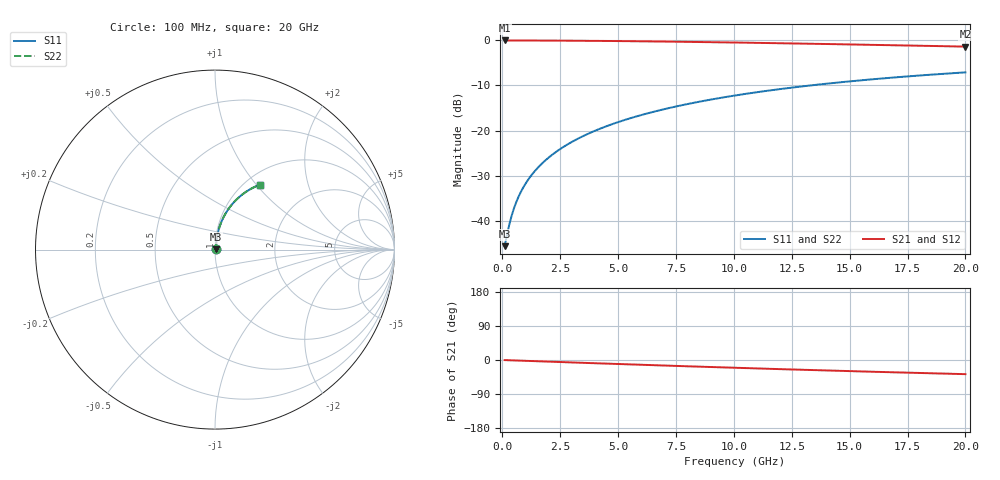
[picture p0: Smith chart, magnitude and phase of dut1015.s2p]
! Touchstone file exported from HFSS 2024.1.0
!  File:  C:/UserFiles/LocalFiles/RDL_TSV_Batchsim/temp_RDL_top_1015_1780042911.aedt
!  Generated:  04:24:28 PM May 29, 2026
!  Design:  RDL_top
!  Project:  temp_RDL_top_1015_1780042911
!  Setup:  Setup1
!  Solution:  Sweep
! Variables:
!  dtsv = 10.80580581um
!  hbump = 3um
!  htsv = 98.43um
!  ldown = 100um
!  lrdl = 441.17um
!  p = 40
!  p1 = 52.46um
!  rhole = 1um
!  t = 450um
!  tdown = 3.915915916um
!  trdl = 2.78um
!  wdown = 15.38538539um
!  wrdl = 12.56um
# GHz S MA R 50.000000
! Terminal data exported
! Port[1] = Box2_T1
! Port[2] = Box2_T2
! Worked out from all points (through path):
!   200 points, 100 MHz to 20 GHz, reference 50 ohm
!   highest |S21| = -0.04 dB at 100 MHz (marker M1); lowest = -1.4 dB at 20 GHz (marker M2)
!   group delay of S21, straight-line fit = 5.19 ps
!   lowest |S11| = -45.6 dB at 100 MHz (marker M3), VSWR 1.01, Z = 50.5 + j0.261 ohm
!   |S11| at or under -10 dB: start of sweep to 13.3 GHz
!   |S22| runs from -45.6 to -7.1 dB; largest |S21 - S12| = 2e-15
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0.1  0.005268 29.4  0.9954 -0.2  0.9954 -0.2  0.005268 29.4
! Gamma 0 0 0 0
! Port Impedance 50 0 50 0
0.3  0.009068 58.4  0.9953 -0.7  0.9953 -0.7  0.009068 58.4
0.4  0.01136 64.6  0.9951 -0.9  0.9951 -0.9  0.01136 64.6
0.5  0.01372 68.5  0.995 -1.1  0.995 -1.1  0.01372 68.5
0.6  0.01612 71.3  0.9949 -1.3  0.9949 -1.3  0.01612 71.3
0.7  0.01853 73.3  0.9947 -1.5  0.9947 -1.5  0.01853 73.3
0.9  0.02338 75.9  0.9944 -2.0  0.9944 -2.0  0.02338 75.9
1.2  0.03069 78.2  0.9939 -2.6  0.9939 -2.6  0.03069 78.2
1.4  0.03557 79.2  0.9935 -3.0  0.9935 -3.0  0.03557 79.2
1.7  0.04292 80.0  0.9929 -3.7  0.9929 -3.7  0.04292 80.0
2.2  0.05522 80.7  0.9917 -4.7  0.9917 -4.7  0.05522 80.7
2.8  0.07001 80.9  0.9899 -6.0  0.9899 -6.0  0.07001 80.9
3.5  0.0873 80.5  0.9874 -7.5  0.9874 -7.5  0.08729 80.5
4.2  0.1046 79.9  0.9843 -8.9  0.9843 -8.9  0.1046 79.9
5  0.1243 79.0  0.9803 -10.6  0.9803 -10.6  0.1243 79.0
5.9  0.1463 77.8  0.9752 -12.4  0.9752 -12.4  0.1463 77.8
6.8  0.1682 76.5  0.9694 -14.2  0.9694 -14.2  0.1682 76.5
8.3  0.2042 74.1  0.9587 -17.2  0.9587 -17.2  0.2041 74.1
10.1  0.2461 71.1  0.9443 -20.6  0.9443 -20.6  0.246 71.1
13.4  0.3184 65.6  0.9149 -26.6  0.9149 -26.6  0.3183 65.6
16.7  0.3836 60.2  0.8833 -32.2  0.8833 -32.2  0.3836 60.2
20  0.4414 55.2  0.8509 -37.4  0.8509 -37.4  0.4414 55.2
